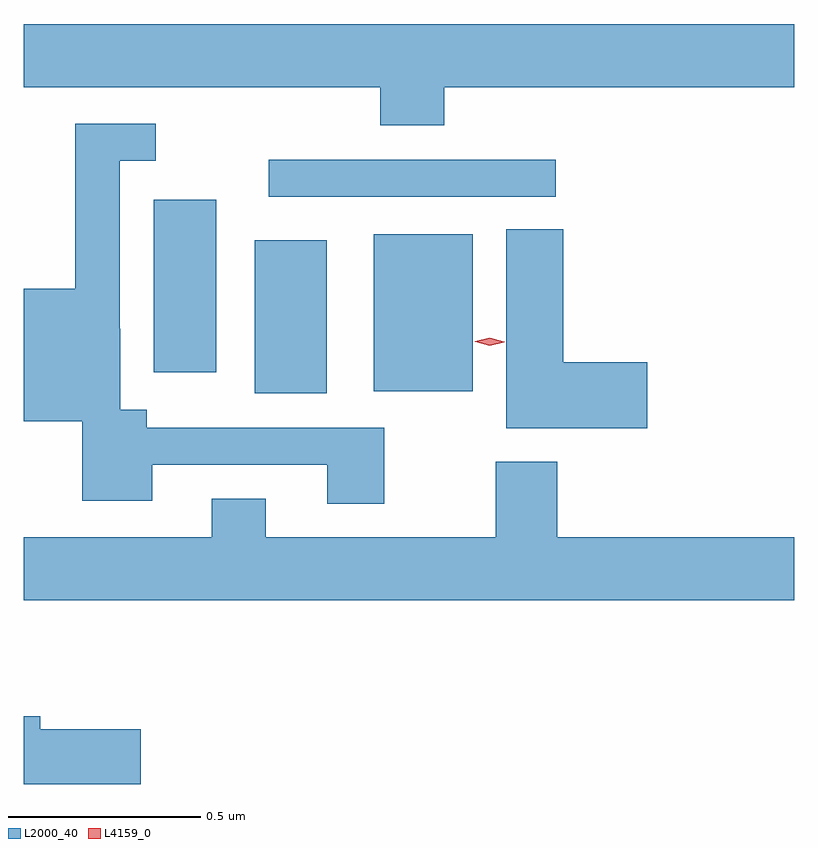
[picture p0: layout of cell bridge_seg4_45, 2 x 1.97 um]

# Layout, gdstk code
import gdstk
lib = gdstk.Library(unit=1e-6, precision=1e-09)
def R(c, l, rs):  # rectangles x0, y0, x1, y1
    for r in rs: c.add(gdstk.rectangle(r[:2], r[2:], *l))
def P(c, l, *ps):  # polygons
    for p in ps: c.add(gdstk.Polygon(p, *l))
L2000_40 = (2000, 40)
L4159_0 = (4159, 0)

bridge_seg4_45 = lib.new_cell('bridge_seg4_45')
R(bridge_seg4_45, L2000_40, [(673.52,784.037,673.708,784.435), (673.829,784.043,674.086,784.45), (673.259,784.092,673.42,784.54), (673.557,784.548,674.302,784.644)])
P(bridge_seg4_45, L2000_40, [(674.012,784.832),(674.921,784.832),(674.921,784.996),(672.921,784.996),(672.921,784.832),(673.847,784.832),(673.847,784.733),(674.012,784.733)],
  [(673.857,783.948),(673.24,783.948),(673.24,783.994),(673.171,783.994),(673.171,784.205),(673.17,784.205),(673.17,784.641),(673.264,784.641),(673.264,784.737),(673.054,784.737),(673.054,784.309),(672.921,784.309),(672.921,783.965),(673.073,783.965),(673.073,783.758),(673.255,783.758),(673.255,783.852),(673.709,783.852),(673.709,783.75),(673.857,783.75)],
  [(674.539,784.118),(674.321,784.118),(674.321,784.463),(674.174,784.463),(674.174,783.947),(674.539,783.947)],
  [(674.921,783.664),(674.306,783.664),(674.306,783.859),(674.146,783.859),(674.146,783.664),(673.549,783.664),(673.549,783.763),(673.409,783.763),(673.409,783.664),(672.921,783.664),(672.921,783.5),(674.921,783.5)],
  [(673.225,783.165),(672.964,783.165),(672.964,783.199),(672.921,783.199),(672.921,783.023),(673.225,783.023)])
P(bridge_seg4_45, L4159_0, [(674.13,784.161),(674.093,784.171),(674.092,784.171),(674.093,784.172),(674.131,784.181),(674.168,784.171),(674.169,784.171),(674.168,784.17)])

lib.write_gds('bridge_seg4_45.gds')
